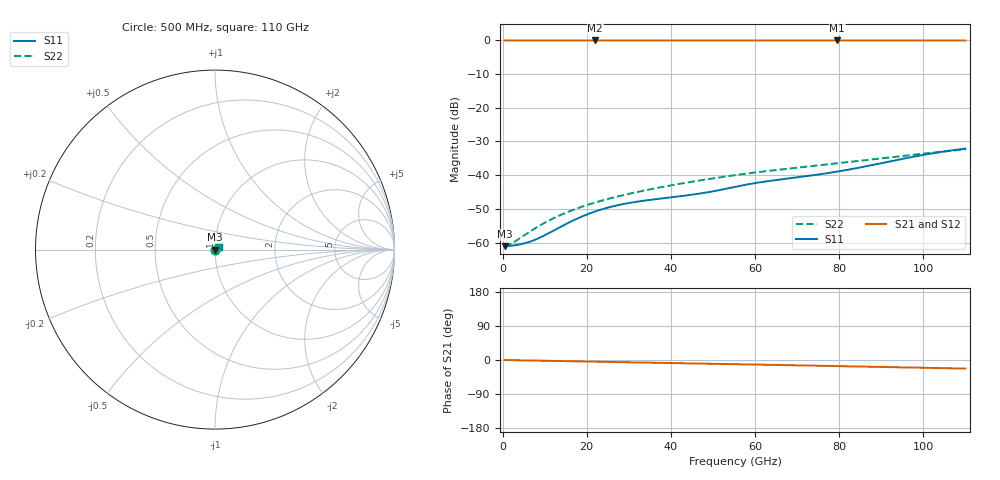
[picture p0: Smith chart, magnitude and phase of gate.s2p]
! AWR Design Environment (9307) Mon Sep  2 17:34:05 2019
! Document = 'Gate EM Export'
! nPorts: 2, nXvals: 220
# GHz S DB R 50
!Freq DBS11 AngS11 DBS21 AngS21 DBS12 AngS12 DBS22 AngS22
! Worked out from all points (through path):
!   220 points, 500 MHz to 110 GHz, reference 50 ohm
!   highest |S21| = 0.00 dB at 79.5 GHz (marker M1); lowest = 0.0 dB at 22 GHz (marker M2)
!   group delay of S21, straight-line fit = 573 fs
!   lowest |S11| = -61.1 dB at 500 MHz (marker M3), VSWR 1.00, Z = 50.1 + j0.00433 ohm
!   |S11| at or under -10 dB: start of sweep to end of sweep
!   |S22| runs from -61.0 to -32.3 dB; largest |S21 - S12| = 0
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0.5  -61.08 2.8  -0.01 -0.1  -0.01 -0.1  -61.04 5.9
1.5  -61.02 6.5  -0.01 -0.3  -0.01 -0.3  -60.67 16.0
2.5  -60.89 10.7  -0.01 -0.5  -0.01 -0.5  -60.04 24.7
5  -60.31 22.5  -0.01 -1.0  -0.01 -1.0  -58.00 40.3
7.5  -59.30 35.3  -0.01 -1.5  -0.01 -1.5  -55.96 49.3
10  -57.87 47.2  -0.01 -1.9  -0.01 -1.9  -54.15 54.5
13  -55.88 58.4  -0.01 -2.5  -0.01 -2.5  -52.28 58.0
16  -53.93 66.1  -0.01 -3.1  -0.01 -3.1  -50.69 59.7
19  -52.21 71.1  -0.01 -3.7  -0.01 -3.7  -49.33 60.4
22  -50.79 74.3  -0.01 -4.3  -0.01 -4.3  -48.13 60.5
25  -49.65 76.3  -0.01 -4.9  -0.01 -4.9  -47.08 60.1
28.5  -48.63 77.5  -0.01 -5.6  -0.01 -5.6  -45.99 59.3
32.5  -47.78 78.9  -0.01 -6.4  -0.01 -6.4  -44.87 57.9
37  -47.04 80.6  -0.01 -7.3  -0.01 -7.3  -43.74 55.9
47.5  -45.33 80.9  -0.01 -9.4  -0.01 -9.4  -41.45 51.0
55.5  -43.41 75.4  -0.01 -11.1  -0.01 -11.1  -39.95 48.3
62  -41.97 69.5  -0.01 -12.4  -0.01 -12.4  -38.91 46.8
73.5  -40.08 58.5  -0.00 -14.9  -0.00 -14.9  -37.31 45.1
79.5  -38.95 52.9  -0.00 -16.2  -0.00 -16.2  -36.49 43.9
92  -35.93 42.2  -0.00 -18.8  -0.00 -18.8  -34.73 40.9
101.5  -33.65 35.1  -0.01 -20.8  -0.01 -20.8  -33.41 38.7
110  -32.11 29.6  -0.01 -22.6  -0.01 -22.6  -32.33 37.4
